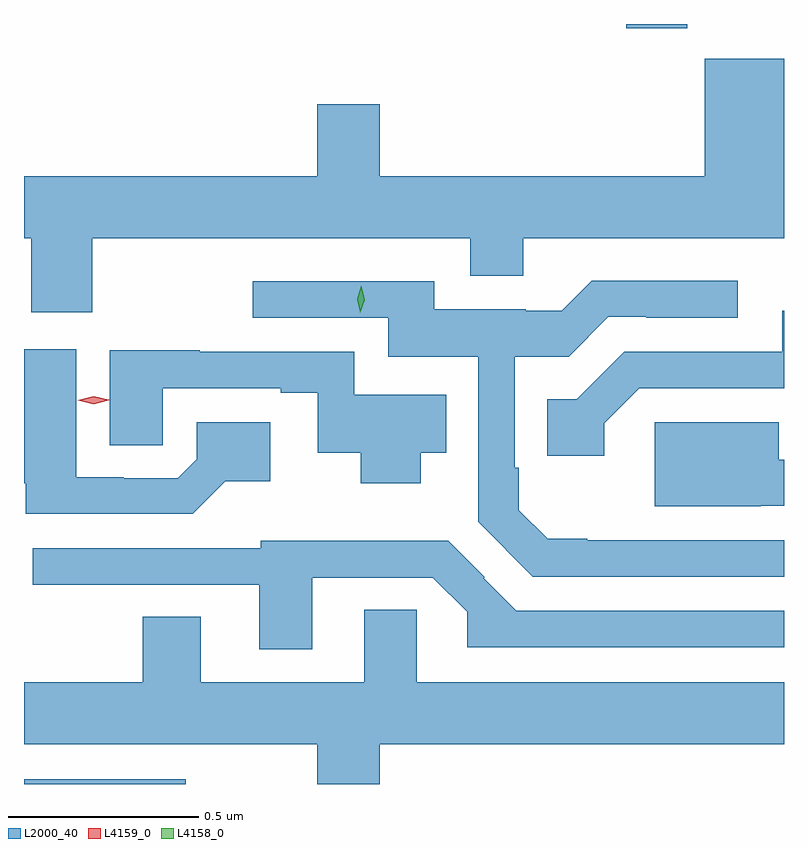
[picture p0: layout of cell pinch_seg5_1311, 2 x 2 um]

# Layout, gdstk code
import gdstk
lib = gdstk.Library(unit=1e-6, precision=1e-09)
def R(c, l, rs):  # rectangles x0, y0, x1, y1
    for r in rs: c.add(gdstk.rectangle(r[:2], r[2:], *l))
def P(c, l, *ps):  # polygons
    for p in ps: c.add(gdstk.Polygon(p, *l))
L2000_40 = (2000, 40)
L4158_0 = (4158, 0)
L4159_0 = (4159, 0)

pinch_seg5_1311 = lib.new_cell('pinch_seg5_1311')
R(pinch_seg5_1311, L2000_40, [(463.936,842.004,464.362,842.016), (465.521,843.993,465.681,844.004)])
P(pinch_seg5_1311, L2000_40, [(464.872,843.793),(464.708,843.793),(464.708,843.604),(463.936,843.604),(463.936,843.44),(463.955,843.44),(463.955,843.246),(464.115,843.246),(464.115,843.44),(465.11,843.44),(465.11,843.341),(465.25,843.341),(465.25,843.44),(465.936,843.44),(465.936,843.913),(465.728,843.913),(465.728,843.604),(464.872,843.604)],
  [(465.936,842.646),(465.418,842.646),(465.418,842.649),(465.314,842.649),(465.238,842.724),(465.238,842.836),(465.228,842.836),(465.228,843.129),(465.369,843.129),(465.474,843.234),(465.574,843.234),(465.574,843.231),(465.814,843.231),(465.814,843.328),(465.43,843.328),(465.351,843.249),(465.257,843.249),(465.257,843.253),(465.016,843.253),(465.016,843.327),(464.538,843.327),(464.538,843.231),(464.894,843.231),(464.894,843.128),(465.132,843.128),(465.132,842.794),(465.131,842.794),(465.131,842.694),(465.275,842.55),(465.936,842.55)],
  [(465.463,842.953),(465.555,843.045),(465.936,843.045),(465.936,843.25),(465.932,843.25),(465.932,843.141),(465.515,843.141),(465.39,843.016),(465.313,843.016),(465.313,842.868),(465.463,842.868)],
  [(464.466,842.801),(464.584,842.801),(464.584,842.956),(464.391,842.956),(464.391,842.859),(464.34,842.808),(464.198,842.808),(464.198,842.811),(464.074,842.811),(464.074,843.148),(463.936,843.148),(463.936,842.795),(463.94,842.795),(463.94,842.715),(464.38,842.715)],
  [(464.98,842.876),(465.047,842.876),(465.047,843.028),(464.805,843.028),(464.805,843.141),(464.398,843.141),(464.398,843.146),(464.162,843.146),(464.162,842.896),(464.301,842.896),(464.301,843.045),(464.612,843.045),(464.612,843.033),(464.709,843.033),(464.709,842.876),(464.822,842.876),(464.822,842.795),(464.98,842.795)],
  [(465.875,842.736),(465.936,842.736),(465.936,842.857),(465.922,842.857),(465.922,842.956),(465.596,842.956),(465.596,842.735),(465.875,842.735)],
  [(464.695,842.547),(465.012,842.547),(465.103,842.457),(465.103,842.364),(465.936,842.364),(465.936,842.46),(465.231,842.46),(465.146,842.545),(465.149,842.548),(465.053,842.644),(464.559,842.644),(464.559,842.625),(463.959,842.625),(463.959,842.529),(464.555,842.529),(464.555,842.358),(464.695,842.358)],
  [(464.872,842.108),(465.936,842.108),(465.936,842.272),(464.97,842.272),(464.97,842.462),(464.831,842.462),(464.831,842.272),(464.401,842.272),(464.401,842.444),(464.249,842.444),(464.249,842.272),(463.936,842.272),(463.936,842.108),(464.708,842.108),(464.708,842.004),(464.872,842.004)])
P(pinch_seg5_1311, L4158_0, [(464.821,843.244),(464.821,843.245),(464.813,843.28),(464.824,843.315),(464.824,843.315),(464.824,843.315),(464.833,843.279),(464.821,843.245)])
P(pinch_seg5_1311, L4159_0, [(464.119,843.004),(464.078,843.014),(464.078,843.014),(464.078,843.014),(464.119,843.024),(464.159,843.015),(464.16,843.015),(464.159,843.014)])

lib.write_gds('pinch_seg5_1311.gds')
